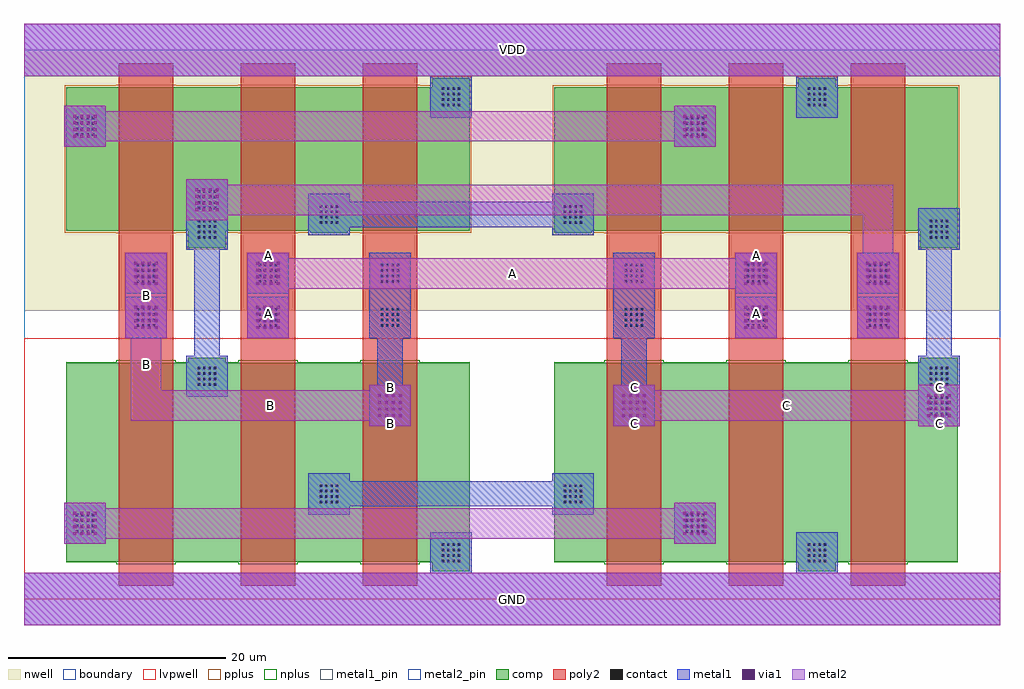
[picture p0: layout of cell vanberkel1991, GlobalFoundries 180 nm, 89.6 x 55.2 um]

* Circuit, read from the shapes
.subckt vanberkel1991 A B C GND VDD
XM1 n1 B n2 VSUBS nfet_03v3 w=18.3u l=5u
XM2 n3 A n1 VSUBS nfet_03v3 w=18.3u l=5u
XM3 GND B n3 VSUBS nfet_03v3 w=18.3u l=5u
XM4 n2 C n3 VSUBS nfet_03v3 w=18.3u l=5u
XM5 GND A n2 VSUBS nfet_03v3 w=18.3u l=5u
XM6 C n1 GND VSUBS nfet_03v3 w=18.3u l=5u
XM7 n1 B n4 n5 pfet_03v3 w=13.2u l=5u
XM8 n6 A n1 n5 pfet_03v3 w=13.2u l=5u
XM9 VDD B n6 n5 pfet_03v3 w=13.2u l=5u
XM10 n4 C n6 n5 pfet_03v3 w=13.2u l=5u
XM11 VDD A n4 n5 pfet_03v3 w=13.2u l=5u
XM12 C n1 VDD n5 pfet_03v3 w=13.2u l=5u
.ends

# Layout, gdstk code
import gdstk
lib = gdstk.Library(unit=1e-6, precision=1e-09)
def R(c, l, rs):  # rectangles x0, y0, x1, y1
    for r in rs: c.add(gdstk.rectangle(r[:2], r[2:], *l))
def A(c, l, x, y, w, h, nx, ny, dx, dy):  # array of equal rectangles
    R(c, l, [(x+i*dx, y+j*dy, x+i*dx+w, y+j*dy+h) for i in range(nx) for j in range(ny)])
boundary = (0, 0)
nwell = (21, 0)
comp = (22, 0)
poly2 = (30, 0)
pplus = (31, 0)
nplus = (32, 0)
contact = (33, 0)
metal1 = (34, 0)
metal1_pin = (34, 10)
via1 = (35, 0)
metal2 = (36, 0)
metal2_pin = (36, 10)
lvpwell = (204, 0)

vanberkel1991 = lib.new_cell('vanberkel1991')
R(vanberkel1991, boundary, [(0,0,89.6,50.4)])
R(vanberkel1991, nwell, [(0,26.45,89.6,50.4)])
R(vanberkel1991, comp, [(37.5,2.55,40.9,3.4), (71.1,2.55,74.5,3.4), (3.9,3.4,40.9,21.7), (48.7,3.4,85.7,21.7), (15.1,21.7,18.5,22.15), (82.3,21.7,85.7,22.15), (15.1,32.25,18.5,33.8), (82.3,32.25,85.7,33.8), (26.3,33.6,29.7,33.8), (48.7,33.6,52.1,33.8), (3.9,33.8,40.9,47), (48.7,33.8,85.7,47), (37.5,47,40.9,47.8), (71.1,47,74.5,47.8)])
A(vanberkel1991, poly2, 8.7, 1.2, 5, 48, 3, 1, 11.2, 0)
A(vanberkel1991, poly2, 53.5, 1.2, 5, 48, 3, 1, 11.2, 0)
A(vanberkel1991, pplus, 8.47, 33.57, 5.46, 0.07, 3, 2, 11.2, 13.59)
A(vanberkel1991, pplus, 53.27, 33.57, 5.46, 0.07, 3, 2, 11.2, 13.59)
R(vanberkel1991, pplus, [(14.94,32.09,18.66,33.64), (82.14,32.09,85.86,33.64), (26.14,33.44,29.86,33.64), (48.54,33.44,52.26,33.64), (3.74,33.64,41.06,47.16), (48.54,33.64,85.86,47.16), (37.34,47.16,41.06,47.96), (70.94,47.16,74.66,47.96)])
A(vanberkel1991, nplus, 8.47, 3.17, 5.46, 0.21, 3, 2, 11.2, 18.55)
A(vanberkel1991, nplus, 53.27, 3.17, 5.46, 0.21, 3, 2, 11.2, 18.55)
R(vanberkel1991, nplus, [(37.48,2.53,40.92,3.38), (71.08,2.53,74.52,3.38), (3.88,3.38,40.92,21.72), (48.68,3.38,85.72,21.72), (15.08,21.72,18.52,22.17), (82.28,21.72,85.72,22.17)])
A(vanberkel1991, contact, 38.34, 3.39, 0.22, 0.22, 4, 4, 0.5, 0.5)
A(vanberkel1991, contact, 71.94, 3.39, 0.22, 0.22, 4, 4, 0.5, 0.5)
A(vanberkel1991, contact, 4.74, 6.09, 0.22, 0.22, 4, 4, 0.5, 0.5)
A(vanberkel1991, contact, 60.74, 6.09, 0.22, 0.22, 4, 4, 0.5, 0.5)
A(vanberkel1991, contact, 27.14, 8.79, 0.22, 0.22, 4, 4, 0.5, 0.5)
A(vanberkel1991, contact, 49.54, 8.79, 0.22, 0.22, 4, 4, 0.5, 0.5)
A(vanberkel1991, contact, 83.14, 16.89, 0.22, 0.22, 4, 4, 0.5, 0.5)
A(vanberkel1991, contact, 15.94, 19.59, 0.22, 0.22, 4, 4, 0.5, 0.5)
A(vanberkel1991, contact, 83.14, 19.59, 0.22, 0.22, 4, 4, 0.5, 0.5)
A(vanberkel1991, contact, 10.34, 24.99, 0.22, 0.22, 4, 4, 0.5, 0.5)
A(vanberkel1991, contact, 21.54, 24.99, 0.22, 0.22, 4, 4, 0.5, 0.5)
A(vanberkel1991, contact, 32.74, 24.99, 0.22, 0.22, 4, 4, 0.5, 0.5)
A(vanberkel1991, contact, 55.14, 24.99, 0.22, 0.22, 4, 4, 0.5, 0.5)
A(vanberkel1991, contact, 66.34, 24.99, 0.22, 0.22, 4, 4, 0.5, 0.5)
A(vanberkel1991, contact, 77.54, 24.99, 0.22, 0.22, 4, 4, 0.5, 0.5)
A(vanberkel1991, contact, 10.34, 29.04, 0.22, 0.22, 4, 4, 0.5, 0.5)
A(vanberkel1991, contact, 21.54, 29.04, 0.22, 0.22, 4, 4, 0.5, 0.5)
A(vanberkel1991, contact, 32.74, 29.04, 0.22, 0.22, 4, 4, 0.5, 0.5)
A(vanberkel1991, contact, 55.14, 29.04, 0.22, 0.22, 4, 4, 0.5, 0.5)
A(vanberkel1991, contact, 66.34, 29.04, 0.22, 0.22, 4, 4, 0.5, 0.5)
A(vanberkel1991, contact, 77.54, 29.04, 0.22, 0.22, 4, 4, 0.5, 0.5)
A(vanberkel1991, contact, 15.94, 33.09, 0.22, 0.22, 4, 4, 0.5, 0.5)
A(vanberkel1991, contact, 83.14, 33.09, 0.22, 0.22, 4, 4, 0.5, 0.5)
A(vanberkel1991, contact, 27.14, 34.44, 0.22, 0.22, 4, 4, 0.5, 0.5)
A(vanberkel1991, contact, 49.54, 34.44, 0.22, 0.22, 4, 4, 0.5, 0.5)
A(vanberkel1991, contact, 15.94, 35.79, 0.22, 0.22, 4, 4, 0.5, 0.5)
A(vanberkel1991, contact, 4.74, 42.54, 0.22, 0.22, 4, 4, 0.5, 0.5)
A(vanberkel1991, contact, 60.74, 42.54, 0.22, 0.22, 4, 4, 0.5, 0.5)
A(vanberkel1991, contact, 38.34, 45.24, 0.22, 0.22, 4, 4, 0.5, 0.5)
A(vanberkel1991, contact, 71.94, 45.24, 0.22, 0.22, 4, 4, 0.5, 0.5)
R(vanberkel1991, metal1, [(0,-2.4,89.6,2.4), (37.3,2.4,41.1,6.15), (70.9,2.4,74.7,6.15), (3.7,5.05,7.5,8.85), (59.7,5.05,63.5,8.85), (26.1,7.75,29.9,8.5), (48.5,7.75,52.3,8.5), (26.1,8.5,52.3,10.8), (26.1,10.8,29.9,11.55), (48.5,10.8,52.3,11.55), (31.7,15.85,35.5,19.65), (54.1,15.85,57.9,19.65), (82.1,15.85,85.9,22.35), (14.9,18.55,18.7,22.35), (32.45,19.65,34.75,23.95), (54.85,19.65,57.15,23.95), (15.65,22.35,17.95,32.05), (82.85,22.35,85.15,32.05), (9.3,23.95,13.1,27.75), (20.5,23.95,24.3,27.75), (31.7,23.95,35.5,31.8), (54.1,23.95,57.9,31.8), (65.3,23.95,69.1,27.75), (76.5,23.95,80.3,27.75), (9.3,28,13.1,31.8), (20.5,28,24.3,31.8), (65.3,28,69.1,31.8), (76.5,28,80.3,31.8), (14.9,32.05,18.7,38.55), (82.1,32.05,85.9,35.85), (26.1,33.4,29.9,34.15), (48.5,33.4,52.3,34.15), (26.1,34.15,52.3,36.45), (26.1,36.45,29.9,37.2), (48.5,36.45,52.3,37.2), (3.7,41.5,7.5,45.3), (59.7,41.5,63.5,45.3), (37.3,44.2,41.1,48), (70.9,44.2,74.7,48), (0,48,89.6,52.8)])
R(vanberkel1991, metal1_pin, [(0,-2.4,89.6,2.4), (0,48,89.6,52.8)])
A(vanberkel1991, via1, 4.54, 5.89, 0.26, 0.26, 4, 4, 0.62, 0.62)
A(vanberkel1991, via1, 60.54, 5.89, 0.26, 0.26, 4, 4, 0.62, 0.62)
A(vanberkel1991, via1, 32.54, 16.69, 0.26, 0.26, 4, 4, 0.62, 0.62)
A(vanberkel1991, via1, 54.94, 16.69, 0.26, 0.26, 4, 4, 0.62, 0.62)
A(vanberkel1991, via1, 82.94, 16.69, 0.26, 0.26, 4, 4, 0.62, 0.62)
A(vanberkel1991, via1, 10.14, 24.79, 0.26, 0.26, 4, 4, 0.62, 0.62)
A(vanberkel1991, via1, 21.34, 24.79, 0.26, 0.26, 4, 4, 0.62, 0.62)
A(vanberkel1991, via1, 66.14, 24.79, 0.26, 0.26, 4, 4, 0.62, 0.62)
A(vanberkel1991, via1, 77.34, 24.79, 0.26, 0.26, 4, 4, 0.62, 0.62)
A(vanberkel1991, via1, 10.14, 28.84, 0.26, 0.26, 4, 4, 0.62, 0.62)
A(vanberkel1991, via1, 21.34, 28.84, 0.26, 0.26, 4, 4, 0.62, 0.62)
A(vanberkel1991, via1, 66.14, 28.84, 0.26, 0.26, 4, 4, 0.62, 0.62)
A(vanberkel1991, via1, 77.34, 28.84, 0.26, 0.26, 4, 4, 0.62, 0.62)
A(vanberkel1991, via1, 15.74, 35.59, 0.26, 0.26, 4, 4, 0.62, 0.62)
A(vanberkel1991, via1, 4.54, 42.34, 0.26, 0.26, 4, 4, 0.62, 0.62)
A(vanberkel1991, via1, 60.54, 42.34, 0.26, 0.26, 4, 4, 0.62, 0.62)
R(vanberkel1991, metal2, [(0,-2.4,89.6,2.4), (3.7,5.05,7.5,5.55), (59.7,5.05,63.5,5.55), (3.7,5.55,63.5,8.35), (3.7,8.35,7.5,8.85), (59.7,8.35,63.5,8.85), (31.7,15.85,35.5,16.35), (54.1,15.85,57.9,16.35), (82.1,15.85,85.9,16.35), (9.8,16.35,35.5,19.15), (54.1,16.35,85.9,19.15), (9.8,19.15,12.6,23.95), (31.7,19.15,35.5,19.65), (54.1,19.15,57.9,19.65), (82.1,19.15,85.9,19.65), (9.3,23.95,13.1,31.8), (20.5,23.95,24.3,28.5), (65.3,23.95,69.1,28.5), (76.5,23.95,80.3,31.8), (20.5,28.5,69.1,31.3), (20.5,31.3,24.3,31.8), (65.3,31.3,69.1,31.8), (77,31.8,79.8,35.25), (14.9,34.75,18.7,35.25), (14.9,35.25,79.8,38.05), (14.9,38.05,18.7,38.55), (3.7,41.5,7.5,42), (59.7,41.5,63.5,42), (3.7,42,63.5,44.8), (3.7,44.8,7.5,45.3), (59.7,44.8,63.5,45.3), (0,48,89.6,52.8)])
R(vanberkel1991, metal2_pin, [(31.7,15.85,35.5,16.35), (54.1,15.85,57.9,16.35), (82.1,15.85,85.9,16.35), (9.8,16.35,35.5,19.15), (54.1,16.35,85.9,19.15), (9.8,19.15,12.6,23.95), (31.7,19.15,35.5,19.65), (54.1,19.15,57.9,19.65), (82.1,19.15,85.9,19.65), (9.3,23.95,13.1,31.8), (20.5,23.95,24.3,28.5), (65.3,23.95,69.1,28.5), (20.5,28.5,69.1,31.3), (20.5,31.3,24.3,31.8), (65.3,31.3,69.1,31.8)])
R(vanberkel1991, lvpwell, [(0,0,89.6,23.95)])
vanberkel1991.add(gdstk.Label('VDD', (44.8,50.4), layer=34, texttype=10))
vanberkel1991.add(gdstk.Label('GND', (44.8,0), layer=34, texttype=10))
vanberkel1991.add(gdstk.Label('C', (56,16.1), layer=36, texttype=10))
vanberkel1991.add(gdstk.Label('C', (84,16.1), layer=36, texttype=10))
vanberkel1991.add(gdstk.Label('C', (70,17.75), layer=36, texttype=10))
vanberkel1991.add(gdstk.Label('C', (56,19.4), layer=36, texttype=10))
vanberkel1991.add(gdstk.Label('C', (84,19.4), layer=36, texttype=10))
vanberkel1991.add(gdstk.Label('B', (33.6,16.1), layer=36, texttype=10))
vanberkel1991.add(gdstk.Label('B', (22.65,17.75), layer=36, texttype=10))
vanberkel1991.add(gdstk.Label('B', (33.6,19.4), layer=36, texttype=10))
vanberkel1991.add(gdstk.Label('B', (11.2,21.55), layer=36, texttype=10))
vanberkel1991.add(gdstk.Label('B', (11.2,27.875), layer=36, texttype=10))
vanberkel1991.add(gdstk.Label('A', (22.4,26.225), layer=36, texttype=10))
vanberkel1991.add(gdstk.Label('A', (67.2,26.225), layer=36, texttype=10))
vanberkel1991.add(gdstk.Label('A', (44.8,29.9), layer=36, texttype=10))
vanberkel1991.add(gdstk.Label('A', (22.4,31.55), layer=36, texttype=10))
vanberkel1991.add(gdstk.Label('A', (67.2,31.55), layer=36, texttype=10))

lib.write_gds('vanberkel1991.gds')
